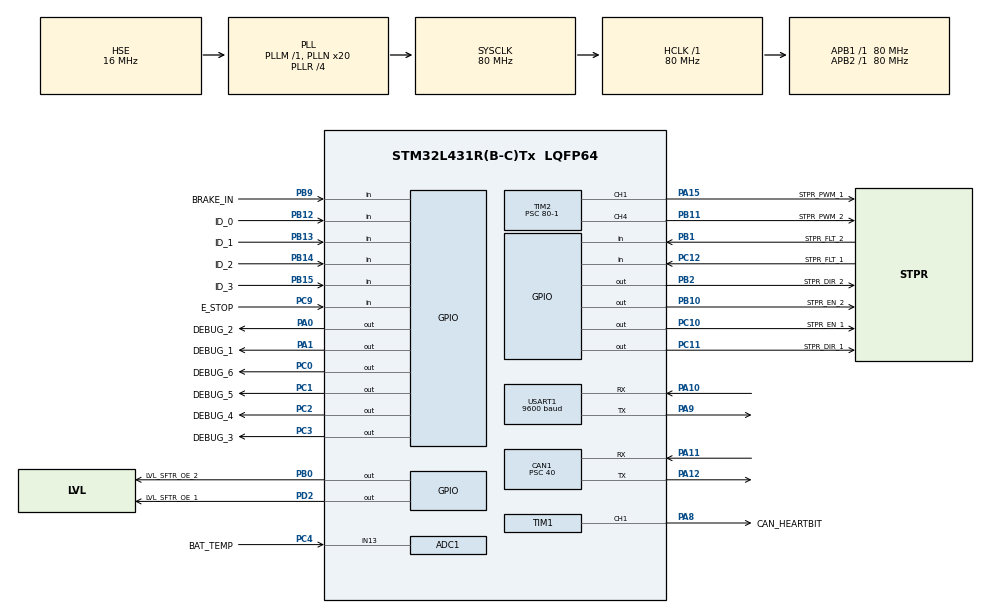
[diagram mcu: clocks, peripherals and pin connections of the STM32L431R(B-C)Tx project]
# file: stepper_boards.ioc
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ADC1.Channel-6\#ChannelRegularConversion=ADC_CHANNEL_TEMPSENSOR
ADC1.ContinuousConvMode=ENABLE
ADC1.NbrOfConversionFlag=1
ADC1.OffsetNumber-6\#ChannelRegularConversion=ADC_OFFSET_NONE
ADC1.Rank-6\#ChannelRegularConversion=1
ADC1.SamplingTime-6\#ChannelRegularConversion=ADC_SAMPLETIME_2CYCLES_5
ADC1.master=1
CAN1.BS1=CAN_BS1_13TQ
CAN1.BS2=CAN_BS2_2TQ
CAN1.CalculateBaudRate=125000
CAN1.CalculateTimeBit=8000
CAN1.CalculateTimeQuantum=500.0
CAN1.Prescaler=40
FREERTOS.BinarySemaphores01=canRxSem,Dynamic,NULL
FREERTOS.Tasks01=canRxTask,32,128,can_rx_task,Default,NULL,Dynamic,NULL,NULL;canTxTask,40,128,can_tx_task,Default,NULL,Dynamic,NULL,NULL;ledTask,8,128,led_task,Default,NULL,Dynamic,NULL,NULL;steeringTaskPWM,36,128,steering_task_pwm,Default,NULL,Dynamic,NULL,NULL
FREERTOS.Timers01=periodicTimer,PeriodicTimerCallback,osTimerPeriodic,Default,NULL,Dynamic,NULL
FREERTOS.configGENERATE_RUN_TIME_STATS=1
FREERTOS.configRECORD_STACK_HIGH_ADDRESS=1
FREERTOS.configTIMER_TASK_PRIORITY=6
FREERTOS.configUSE_NEWLIB_REENTRANT=1
FREERTOS.configUSE_STATS_FORMATTING_FUNCTIONS=1
Mcu.Family=STM32L4
Mcu.Name=STM32L431R(B-C)Tx
Mcu.Package=LQFP64
NVIC.CAN1_RX0_IRQn=true\:5\:0\:false\:false\:true\:true\:true\:true\:true
NVIC.CAN1_RX1_IRQn=true\:5\:0\:false\:false\:true\:true\:true\:true\:true
NVIC.PriorityGroup=NVIC_PRIORITYGROUP_4
NVIC.TIM6_DAC_IRQn=true\:15\:0\:false\:false\:true\:false\:false\:true\:true
NVIC.TimeBase=TIM6_DAC_IRQn
NVIC.TimeBaseIP=TIM6
PA0.GPIO_Label=DEBUG_2
PA0.Signal=GPIO_Output
PA1.GPIO_Label=DEBUG_1
PA1.Signal=GPIO_Output
PA10.Mode=Asynchronous
PA10.Signal=USART1_RX
PA11.Mode=CAN_Activate
PA11.Signal=CAN1_RX
PA12.Mode=CAN_Activate
PA12.Signal=CAN1_TX
PA13\ (JTMS-SWDIO).Mode=Trace_Asynchronous_SW
PA13\ (JTMS-SWDIO).Signal=SYS_JTMS-SWDIO
PA14\ (JTCK-SWCLK).Mode=Trace_Asynchronous_SW
PA14\ (JTCK-SWCLK).Signal=SYS_JTCK-SWCLK
PA15\ (JTDI).GPIO_Label=STPR_PWM_1
PA15\ (JTDI).Signal=S_TIM2_CH1
PA8.GPIO_Label=CAN_HEARTBIT
PA8.Signal=S_TIM1_CH1
PA9.Mode=Asynchronous
PA9.Signal=USART1_TX
PB0.GPIO_Label=LVL_SFTR_OE_2
PB0.Signal=GPIO_Output
PB1.GPIO_Label=STPR_FLT_2
PB1.Signal=GPIO_Input
PB10.GPIO_Label=STPR_EN_2
PB10.Signal=GPIO_Output
PB11.GPIO_Label=STPR_PWM_2
PB11.Signal=S_TIM2_CH4
PB12.GPIO_Label=ID_0
PB12.Signal=GPIO_Input
PB13.GPIO_Label=ID_1
PB13.Signal=GPIO_Input
PB14.GPIO_Label=ID_2
PB14.Signal=GPIO_Input
PB15.GPIO_Label=ID_3
PB15.Signal=GPIO_Input
PB2.GPIO_Label=STPR_DIR_2
PB2.Signal=GPIO_Output
PB3\ (JTDO-TRACESWO).Mode=Trace_Asynchronous_SW
PB3\ (JTDO-TRACESWO).Signal=SYS_JTDO-SWO
PB9.GPIO_Label=BRAKE_IN
PB9.Signal=GPIO_Input
PC0.GPIO_Label=DEBUG_6
PC0.Signal=GPIO_Output
PC1.GPIO_Label=DEBUG_5
PC1.Signal=GPIO_Output
PC10.GPIO_Label=STPR_EN_1
PC10.Signal=GPIO_Output
PC11.GPIO_Label=STPR_DIR_1
PC11.Signal=GPIO_Output
PC12.GPIO_Label=STPR_FLT_1
PC12.Signal=GPIO_Input
PC2.GPIO_Label=DEBUG_4
PC2.Signal=GPIO_Output
PC3.GPIO_Label=DEBUG_3
PC3.Signal=GPIO_Output
PC4.GPIO_Label=BAT_TEMP
PC4.Signal=SharedAnalog_PC4
PC9.GPIO_Label=E_STOP
PC9.Signal=GPIO_Input
PD2.GPIO_Label=LVL_SFTR_OE_1
PD2.Signal=GPIO_Output
PH0-OSC_IN\ (PH0).Mode=HSE-External-Oscillator
PH0-OSC_IN\ (PH0).Signal=RCC_OSC_IN
PH1-OSC_OUT\ (PH1).Mode=HSE-External-Oscillator
PH1-OSC_OUT\ (PH1).Signal=RCC_OSC_OUT
ProjectManager.HeapSize=0x200
ProjectManager.StackSize=0x400
ProjectManager.TargetToolchain=STM32CubeIDE
RCC.ADCFreq_Value=80000000
RCC.AHBFreq_Value=80000000
RCC.APB1Freq_Value=80000000
RCC.APB1TimFreq_Value=80000000
RCC.APB2Freq_Value=80000000
RCC.APB2TimFreq_Value=80000000
RCC.CortexFreq_Value=80000000
RCC.HCLKFreq_Value=80000000
RCC.HSE_VALUE=16000000
RCC.HSI48_VALUE=48000000
RCC.HSI_VALUE=16000000
RCC.LSE_VALUE=32768
RCC.MSI_VALUE=4000000
RCC.PLLN=20
RCC.PLLR=RCC_PLLR_DIV4
RCC.PLLSAI1N=20
RCC.PLLSAI1R=RCC_PLLR_DIV4
RCC.PLLSourceVirtual=RCC_PLLSOURCE_HSE
RCC.SYSCLKFreq_VALUE=80000000
RCC.SYSCLKSource=RCC_SYSCLKSOURCE_PLLCLK
RCC.VCOOutputFreq_Value=320000000
SH.S_TIM1_CH1.0=TIM1_CH1,PWM Generation1 CH1
SH.S_TIM2_CH1.0=TIM2_CH1,PWM Generation1 CH1
SH.S_TIM2_CH4.0=TIM2_CH4,PWM Generation4 CH4
SH.SharedAnalog_PC4.0=GPIO_Analog
SH.SharedAnalog_PC4.1=ADC1_IN13,IN13-Single-Ended
TIM1.Channel-PWM\ Generation1\ CH1=TIM_CHANNEL_1
TIM2.Channel-PWM\ Generation1\ CH1=TIM_CHANNEL_1
TIM2.Channel-PWM\ Generation4\ CH4=TIM_CHANNEL_4
TIM2.Period=100-1 
TIM2.Prescaler=80-1
USART1.BaudRate=9600
USART1.VirtualMode-Asynchronous=VM_ASYNC
VP_ADC1_TempSens_Input.Mode=IN-TempSens
VP_FREERTOS_VS_CMSIS_V2.Mode=CMSIS_V2
VP_SYS_VS_tim6.Mode=TIM6
VP_TIM1_VS_ClockSourceINT.Mode=Internal
VP_TIM2_VS_ClockSourceINT.Mode=Internal
board=custom

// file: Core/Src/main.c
/* USER CODE BEGIN Header */
/**
  ******************************************************************************
  * @file           : main.c
  * @brief          : Main program body
  ******************************************************************************
  * @attention
  *
  * Copyright (c) 2023 STMicroelectronics.
  * All rights reserved.
  *
  * This software is licensed under terms that can be found in the LICENSE file
  * in the root directory of this software component.
  * If no LICENSE file comes with this software, it is provided AS-IS.
  *
  ******************************************************************************
  */
/* USER CODE END Header */
#include "main.h"
#include "cmsis_os.h"

/* USER CODE BEGIN Includes */
#include <CAN/can_tasks.h>
#include <STEPPER/stepper_tasks.h>
#include "stdio.h"
/* USER CODE END Includes */

ADC_HandleTypeDef hadc1;

CAN_HandleTypeDef hcan1;

TIM_HandleTypeDef htim1;
TIM_HandleTypeDef htim2;

UART_HandleTypeDef huart1;

/* Definitions for ledTask */
osThreadId_t ledTaskHandle;
const osThreadAttr_t ledTask_attributes = {
  .name = "ledTask",
  .stack_size = 128 * 4,
  .priority = (osPriority_t) osPriorityLow,
};
/* Definitions for steeringTaskPWM */
osThreadId_t steeringTaskPWMHandle;
const osThreadAttr_t steeringTaskPWM_attributes = {
  .name = "steeringTaskPWM",
  .stack_size = 128 * 4,
  .priority = (osPriority_t) osPriorityAboveNormal4,
};
/* Definitions for periodicTimer */
osTimerId_t periodicTimerHandle;
const osTimerAttr_t periodicTimer_attributes = {
  .name = "periodicTimer"
};
/* Definitions for canRxSem */
osSemaphoreId_t canRxSemHandle;
const osSemaphoreAttr_t canRxSem_attributes = {
  .name = "canRxSem"
};

void SystemClock_Config(void);
static void MX_GPIO_Init(void);
static void MX_USART1_UART_Init(void);
static void MX_TIM2_Init(void);
static void MX_TIM1_Init(void);
static void MX_ADC1_Init(void);
static void MX_CAN1_Init(void);
void led_task(void *argument);
void PeriodicTimerCallback(void *argument);

/* USER CODE BEGIN 0 */
int _write(int file, char *ptr, int len)
{
	for(int i=0; i<len; i++)
	{
		ITM_SendChar(*ptr++);
	}
	return len;
}

//uint8_t count = 0;

/* USER CODE END 0 */

int main(void)
{

  /* MCU Configuration--------------------------------------------------------*/

  /* Reset of all peripherals, Initializes the Flash interface and the Systick. */
  HAL_Init();

  /* Configure the system clock */
  SystemClock_Config();

  /* Initialize all configured peripherals */
  MX_GPIO_Init();
  MX_USART1_UART_Init();
  MX_TIM2_Init();
  MX_TIM1_Init();
  MX_ADC1_Init();
  MX_CAN1_Init();
  /* USER CODE BEGIN 2 */

  // Debug
  HAL_GPIO_WritePin(GPIOC, DEBUG_6_Pin|DEBUG_5_Pin|DEBUG_4_Pin|DEBUG_3_Pin, GPIO_PIN_SET);
  //HAL_GPIO_WritePin(GPIOA, DEBUG_2_Pin|DEBUG_1_Pin, GPIO_PIN_SET);

  // Stepper 1
  HAL_GPIO_WritePin(LVL_SFTR_OE_1_GPIO_Port, LVL_SFTR_OE_1_Pin, GPIO_PIN_SET);
  //HAL_GPIO_WritePin(GPIOC, STPR_DIR_1_Pin | STPR_EN_1_Pin, GPIO_PIN_SET);
  //HAL_GPIO_WritePin(STPR_PWM_1_GPIO_Port, STPR_PWM_1_Pin, GPIO_PIN_RESET);

  // Stepper 2
  //HAL_GPIO_WritePin(GPIOB, LVL_SFTR_OE_2_Pin|STPR_DIR_2_Pin|STPR_PWM_2_Pin, GPIO_PIN_SET);
  //HAL_GPIO_WritePin(GPIOB, STPR_EN_2_Pin, GPIO_PIN_SET);

  // ADC Calibration
  /*
  HAL_StatusTypeDef ret;
  ret = HAL_ADCEx_Calibration_Start(&hadc1, ADC_SINGLE_ENDED);
  if(ret != HAL_OK)
  {
	  Error_Handler();
  }

*/

  TIM1->CCR1 = 50;
  HAL_TIM_PWM_Start(&htim1, TIM_CHANNEL_1);

  /*
  if(HAL_CAN_Start(&hcan1) == HAL_OK)
	  printf("CAN started correctly\n");
  else
	  printf("CAN error\n");

  HAL_CAN_ActivateNotification(&hcan1, CAN_IT_RX_FIFO0_MSG_PENDING);
   */

  /* USER CODE END 2 */

  /* Init scheduler */
  osKernelInitialize();

  /* Create the semaphores(s) */
  /* creation of canRxSem */
  canRxSemHandle = osSemaphoreNew(1, 1, &canRxSem_attributes);

  /* Create the timer(s) */
  /* creation of periodicTimer */
  periodicTimerHandle = osTimerNew(PeriodicTimerCallback, osTimerPeriodic, NULL, &periodicTimer_attributes);

  /* Create the thread(s) */
  start_can_tasks();

  /* creation of ledTask */
  ledTaskHandle = osThreadNew(led_task, NULL, &ledTask_attributes);

  /* creation of steeringTaskPWM */
  steeringTaskPWMHandle = osThreadNew(steering_task_pwm, NULL, &steeringTaskPWM_attributes);

  /* Start scheduler */
  osKernelStart();

  /* We should never get here as control is now taken by the scheduler */
  /* Infinite loop */
  /* USER CODE BEGIN WHILE */
  /*
  uint32_t previous_t = 0;
  uint32_t current_t = 0;
  uint32_t delay = 1;
  uint32_t thermistor_reading = 0;

  GPIO_PinState ID_0;
  GPIO_PinState ID_1;
  GPIO_PinState ID_2;
  GPIO_PinState ID_3;

  GPIO_PinState BRAKE;
  GPIO_PinState FAULT_1;
  GPIO_PinState FAULT_2;
  */

  //HAL_UART_Transmit(&huart1, dataT, 14, HAL_MAX_DELAY);

  while (1)
  {
	  /*
	  current_t = HAL_GetTick();

	  if(current_t - previous_t >= delay){
		  previous_t = current_t;
		  HAL_GPIO_WritePin(STPR_PWM_1_GPIO_Port, STPR_PWM_1_Pin, GPIO_PIN_SET);

		  HAL_Delay(delay);

		  HAL_GPIO_WritePin(STPR_PWM_1_GPIO_Port, STPR_PWM_1_Pin, GPIO_PIN_RESET);
	  }

	  ID_0 = HAL_GPIO_ReadPin(GPIOB, ID_0_Pin);
	  ID_1 = HAL_GPIO_ReadPin(GPIOB, ID_1_Pin);
	  ID_2 = HAL_GPIO_ReadPin(GPIOB, ID_2_Pin);
	  ID_3 = HAL_GPIO_ReadPin(GPIOB, ID_3_Pin);

	  BRAKE = HAL_GPIO_ReadPin(GPIOB, BRAKE_IN_Pin);
	  FAULT_1 = HAL_GPIO_ReadPin(GPIOC, STPR_FLT_1_Pin);
	  FAULT_2 = HAL_GPIO_ReadPin(GPIOB, STPR_FLT_2_Pin);

	  printf("ID 0: %d\n", ID_0);
	  printf("ID 1: %d\n", ID_1);
	  printf("ID 2: %d\n", ID_2);
	  printf("ID 3: %d\n", ID_3);
	  printf("\n");
	  printf("BRAKE: %d\n", BRAKE);
	  printf("FAULT 1: %d\n", FAULT_1);
	  printf("FAULT 2: %d\n", FAULT_2);

	  HAL_ADC_Start(&hadc1);
	  if(HAL_ADC_PollForConversion(&hadc1, 100) == HAL_OK)
	  {
		  thermistor_reading = HAL_ADC_GetValue(&hadc1);
	  }
	  HAL_ADC_Stop(&hadc1);

	  printf("Thermistor Measurement: %u\n", thermistor_reading);
	  printf("Thermistor Voltage: %f\n", (float) thermistor_reading*3.3/4096);
		*/

	  //if(HAL_UART_Receive(&huart1, dataR, 1, HAL_MAX_DELAY) == HAL_OK)
	  //{
	  // dataR[0] = dataR[0] + 1;
	  // HAL_UART_Transmit(&huart1, dataR, 1, HAL_MAX_DELAY);
	  // }

	  //if(!HAL_CAN_IsTxMessagePending(&hcan1, TxMailbox)){
		  //printf("Message sent 2\n");
		//  HAL_CAN_AddTxMessage(&hcan1, &TxHeader, &TxData[0], &TxMailbox);
			  /* printf("Transmission requested 2\n");
		  else
			  printf("Error 2\n");
	  //}
	  else
		  printf("Message pending 2\n");*/

	  //HAL_Delay(500);

    /* USER CODE END WHILE */

  }
}

void SystemClock_Config(void)
{
  RCC_OscInitTypeDef RCC_OscInitStruct = {0};
  RCC_ClkInitTypeDef RCC_ClkInitStruct = {0};

  /** Configure the main internal regulator output voltage
  */
  if (HAL_PWREx_ControlVoltageScaling(PWR_REGULATOR_VOLTAGE_SCALE1) != HAL_OK)
  {
    Error_Handler();
  }

  /** Initializes the RCC Oscillators according to the specified parameters
  * in the RCC_OscInitTypeDef structure.
  */
  RCC_OscInitStruct.OscillatorType = RCC_OSCILLATORTYPE_HSE;
  RCC_OscInitStruct.HSEState = RCC_HSE_ON;
  RCC_OscInitStruct.PLL.PLLState = RCC_PLL_ON;
  RCC_OscInitStruct.PLL.PLLSource = RCC_PLLSOURCE_HSE;
  RCC_OscInitStruct.PLL.PLLM = 1;
  RCC_OscInitStruct.PLL.PLLN = 20;
  RCC_OscInitStruct.PLL.PLLP = RCC_PLLP_DIV7;
  RCC_OscInitStruct.PLL.PLLQ = RCC_PLLQ_DIV2;
  RCC_OscInitStruct.PLL.PLLR = RCC_PLLR_DIV4;
  if (HAL_RCC_OscConfig(&RCC_OscInitStruct) != HAL_OK)
  {
    Error_Handler();
  }

  /** Initializes the CPU, AHB and APB buses clocks
  */
  RCC_ClkInitStruct.ClockType = RCC_CLOCKTYPE_HCLK|RCC_CLOCKTYPE_SYSCLK
                              |RCC_CLOCKTYPE_PCLK1|RCC_CLOCKTYPE_PCLK2;
  RCC_ClkInitStruct.SYSCLKSource = RCC_SYSCLKSOURCE_PLLCLK;
  RCC_ClkInitStruct.AHBCLKDivider = RCC_SYSCLK_DIV1;
  RCC_ClkInitStruct.APB1CLKDivider = RCC_HCLK_DIV1;
  RCC_ClkInitStruct.APB2CLKDivider = RCC_HCLK_DIV1;

  if (HAL_RCC_ClockConfig(&RCC_ClkInitStruct, FLASH_LATENCY_4) != HAL_OK)
  {
    Error_Handler();
  }
}

static void MX_ADC1_Init(void)
{

  ADC_ChannelConfTypeDef sConfig = {0};

  /** Common config
  */
  hadc1.Instance = ADC1;
  hadc1.Init.ClockPrescaler = ADC_CLOCK_ASYNC_DIV1;
  hadc1.Init.Resolution = ADC_RESOLUTION_12B;
  hadc1.Init.DataAlign = ADC_DATAALIGN_RIGHT;
  hadc1.Init.ScanConvMode = ADC_SCAN_DISABLE;
  hadc1.Init.EOCSelection = ADC_EOC_SINGLE_CONV;
  hadc1.Init.LowPowerAutoWait = DISABLE;
  hadc1.Init.ContinuousConvMode = ENABLE;
  hadc1.Init.NbrOfConversion = 1;
  hadc1.Init.DiscontinuousConvMode = DISABLE;
  hadc1.Init.ExternalTrigConv = ADC_SOFTWARE_START;
  hadc1.Init.ExternalTrigConvEdge = ADC_EXTERNALTRIGCONVEDGE_NONE;
  hadc1.Init.DMAContinuousRequests = DISABLE;
  hadc1.Init.Overrun = ADC_OVR_DATA_PRESERVED;
  hadc1.Init.OversamplingMode = DISABLE;
  if (HAL_ADC_Init(&hadc1) != HAL_OK)
  {
    Error_Handler();
  }

  /** Configure Regular Channel
  */
  sConfig.Channel = ADC_CHANNEL_TEMPSENSOR;
  sConfig.Rank = ADC_REGULAR_RANK_1;
  sConfig.SamplingTime = ADC_SAMPLETIME_2CYCLES_5;
  sConfig.SingleDiff = ADC_SINGLE_ENDED;
  sConfig.OffsetNumber = ADC_OFFSET_NONE;
  sConfig.Offset = 0;
  if (HAL_ADC_ConfigChannel(&hadc1, &sConfig) != HAL_OK)
  {
    Error_Handler();
  }

}

static void MX_CAN1_Init(void)
{

  hcan1.Instance = CAN1;
  hcan1.Init.Prescaler = 40;
  hcan1.Init.Mode = CAN_MODE_NORMAL;
  hcan1.Init.SyncJumpWidth = CAN_SJW_1TQ;
  hcan1.Init.TimeSeg1 = CAN_BS1_13TQ;
  hcan1.Init.TimeSeg2 = CAN_BS2_2TQ;
  hcan1.Init.TimeTriggeredMode = DISABLE;
  hcan1.Init.AutoBusOff = DISABLE;
  hcan1.Init.AutoWakeUp = DISABLE;
  hcan1.Init.AutoRetransmission = DISABLE;
  hcan1.Init.ReceiveFifoLocked = DISABLE;
  hcan1.Init.TransmitFifoPriority = DISABLE;
  if (HAL_CAN_Init(&hcan1) != HAL_OK)
  {
    Error_Handler();
  }
  /* USER CODE BEGIN CAN1_Init 2 */

  can_init();

  /* USER CODE END CAN1_Init 2 */

}

static void MX_TIM1_Init(void)
{

  TIM_ClockConfigTypeDef sClockSourceConfig = {0};
  TIM_MasterConfigTypeDef sMasterConfig = {0};
  TIM_OC_InitTypeDef sConfigOC = {0};
  TIM_BreakDeadTimeConfigTypeDef sBreakDeadTimeConfig = {0};

  htim1.Instance = TIM1;
  htim1.Init.Prescaler = 0;
  htim1.Init.CounterMode = TIM_COUNTERMODE_UP;
  htim1.Init.Period = 65535;
  htim1.Init.ClockDivision = TIM_CLOCKDIVISION_DIV1;
  htim1.Init.RepetitionCounter = 0;
  htim1.Init.AutoReloadPreload = TIM_AUTORELOAD_PRELOAD_DISABLE;
  if (HAL_TIM_Base_Init(&htim1) != HAL_OK)
  {
    Error_Handler();
  }
  sClockSourceConfig.ClockSource = TIM_CLOCKSOURCE_INTERNAL;
  if (HAL_TIM_ConfigClockSource(&htim1, &sClockSourceConfig) != HAL_OK)
  {
    Error_Handler();
  }
  if (HAL_TIM_PWM_Init(&htim1) != HAL_OK)
  {
    Error_Handler();
  }
  sMasterConfig.MasterOutputTrigger = TIM_TRGO_RESET;
  sMasterConfig.MasterOutputTrigger2 = TIM_TRGO2_RESET;
  sMasterConfig.MasterSlaveMode = TIM_MASTERSLAVEMODE_DISABLE;
  if (HAL_TIMEx_MasterConfigSynchronization(&htim1, &sMasterConfig) != HAL_OK)
  {
    Error_Handler();
  }
  sConfigOC.OCMode = TIM_OCMODE_PWM1;
  sConfigOC.Pulse = 0;
  sConfigOC.OCPolarity = TIM_OCPOLARITY_HIGH;
  sConfigOC.OCNPolarity = TIM_OCNPOLARITY_HIGH;
  sConfigOC.OCFastMode = TIM_OCFAST_DISABLE;
  sConfigOC.OCIdleState = TIM_OCIDLESTATE_RESET;
  sConfigOC.OCNIdleState = TIM_OCNIDLESTATE_RESET;
  if (HAL_TIM_PWM_ConfigChannel(&htim1, &sConfigOC, TIM_CHANNEL_1) != HAL_OK)
  {
    Error_Handler();
  }
  sBreakDeadTimeConfig.OffStateRunMode = TIM_OSSR_DISABLE;
  sBreakDeadTimeConfig.OffStateIDLEMode = TIM_OSSI_DISABLE;
  sBreakDeadTimeConfig.LockLevel = TIM_LOCKLEVEL_OFF;
  sBreakDeadTimeConfig.DeadTime = 0;
  sBreakDeadTimeConfig.BreakState = TIM_BREAK_DISABLE;
  sBreakDeadTimeConfig.BreakPolarity = TIM_BREAKPOLARITY_HIGH;
  sBreakDeadTimeConfig.BreakFilter = 0;
  sBreakDeadTimeConfig.Break2State = TIM_BREAK2_DISABLE;
  sBreakDeadTimeConfig.Break2Polarity = TIM_BREAK2POLARITY_HIGH;
  sBreakDeadTimeConfig.Break2Filter = 0;
  sBreakDeadTimeConfig.AutomaticOutput = TIM_AUTOMATICOUTPUT_DISABLE;
  if (HAL_TIMEx_ConfigBreakDeadTime(&htim1, &sBreakDeadTimeConfig) != HAL_OK)
  {
    Error_Handler();
  }
  HAL_TIM_MspPostInit(&htim1);

}

static void MX_TIM2_Init(void)
{

  TIM_ClockConfigTypeDef sClockSourceConfig = {0};
  TIM_MasterConfigTypeDef sMasterConfig = {0};
  TIM_OC_InitTypeDef sConfigOC = {0};

  htim2.Instance = TIM2;
  htim2.Init.Prescaler = 80-1;
  htim2.Init.CounterMode = TIM_COUNTERMODE_UP;
  htim2.Init.Period = 100-1 ;
  htim2.Init.ClockDivision = TIM_CLOCKDIVISION_DIV1;
  htim2.Init.AutoReloadPreload = TIM_AUTORELOAD_PRELOAD_DISABLE;
  if (HAL_TIM_Base_Init(&htim2) != HAL_OK)
  {
    Error_Handler();
  }
  sClockSourceConfig.ClockSource = TIM_CLOCKSOURCE_INTERNAL;
  if (HAL_TIM_ConfigClockSource(&htim2, &sClockSourceConfig) != HAL_OK)
  {
    Error_Handler();
  }
  if (HAL_TIM_PWM_Init(&htim2) != HAL_OK)
  {
    Error_Handler();
  }
  sMasterConfig.MasterOutputTrigger = TIM_TRGO_RESET;
  sMasterConfig.MasterSlaveMode = TIM_MASTERSLAVEMODE_DISABLE;
  if (HAL_TIMEx_MasterConfigSynchronization(&htim2, &sMasterConfig) != HAL_OK)
  {
    Error_Handler();
  }
  sConfigOC.OCMode = TIM_OCMODE_PWM1;
  sConfigOC.Pulse = 0;
  sConfigOC.OCPolarity = TIM_OCPOLARITY_HIGH;
  sConfigOC.OCFastMode = TIM_OCFAST_DISABLE;
  if (HAL_TIM_PWM_ConfigChannel(&htim2, &sConfigOC, TIM_CHANNEL_1) != HAL_OK)
  {
    Error_Handler();
  }
  if (HAL_TIM_PWM_ConfigChannel(&htim2, &sConfigOC, TIM_CHANNEL_4) != HAL_OK)
  {
    Error_Handler();
  }
  HAL_TIM_MspPostInit(&htim2);

}

static void MX_USART1_UART_Init(void)
{

  huart1.Instance = USART1;
  huart1.Init.BaudRate = 9600;
  huart1.Init.WordLength = UART_WORDLENGTH_8B;
  huart1.Init.StopBits = UART_STOPBITS_1;
  huart1.Init.Parity = UART_PARITY_NONE;
  huart1.Init.Mode = UART_MODE_TX_RX;
  huart1.Init.HwFlowCtl = UART_HWCONTROL_NONE;
  huart1.Init.OverSampling = UART_OVERSAMPLING_16;
  huart1.Init.OneBitSampling = UART_ONE_BIT_SAMPLE_DISABLE;
  huart1.AdvancedInit.AdvFeatureInit = UART_ADVFEATURE_NO_INIT;
  if (HAL_UART_Init(&huart1) != HAL_OK)
  {
    Error_Handler();
  }

}

static void MX_GPIO_Init(void)
{
  GPIO_InitTypeDef GPIO_InitStruct = {0};

  /* GPIO Ports Clock Enable */
  __HAL_RCC_GPIOH_CLK_ENABLE();
  __HAL_RCC_GPIOC_CLK_ENABLE();
  __HAL_RCC_GPIOA_CLK_ENABLE();
  __HAL_RCC_GPIOB_CLK_ENABLE();
  __HAL_RCC_GPIOD_CLK_ENABLE();

  /*Configure GPIO pin Output Level */
  HAL_GPIO_WritePin(GPIOC, DEBUG_6_Pin|DEBUG_5_Pin|DEBUG_4_Pin|DEBUG_3_Pin
                          |STPR_EN_1_Pin|STPR_DIR_1_Pin, GPIO_PIN_RESET);

  /*Configure GPIO pin Output Level */
  HAL_GPIO_WritePin(GPIOA, DEBUG_2_Pin|DEBUG_1_Pin, GPIO_PIN_RESET);

  /*Configure GPIO pin Output Level */
  HAL_GPIO_WritePin(GPIOB, LVL_SFTR_OE_2_Pin|STPR_DIR_2_Pin|STPR_EN_2_Pin, GPIO_PIN_RESET);

  /*Configure GPIO pin Output Level */
  HAL_GPIO_WritePin(LVL_SFTR_OE_1_GPIO_Port, LVL_SFTR_OE_1_Pin, GPIO_PIN_RESET);

  /*Configure GPIO pins : DEBUG_6_Pin DEBUG_5_Pin DEBUG_4_Pin DEBUG_3_Pin
                           STPR_EN_1_Pin STPR_DIR_1_Pin */
  GPIO_InitStruct.Pin = DEBUG_6_Pin|DEBUG_5_Pin|DEBUG_4_Pin|DEBUG_3_Pin
                          |STPR_EN_1_Pin|STPR_DIR_1_Pin;
  GPIO_InitStruct.Mode = GPIO_MODE_OUTPUT_PP;
  GPIO_InitStruct.Pull = GPIO_NOPULL;
  GPIO_InitStruct.Speed = GPIO_SPEED_FREQ_LOW;
  HAL_GPIO_Init(GPIOC, &GPIO_InitStruct);

  /*Configure GPIO pins : DEBUG_2_Pin DEBUG_1_Pin */
  GPIO_InitStruct.Pin = DEBUG_2_Pin|DEBUG_1_Pin;
  GPIO_InitStruct.Mode = GPIO_MODE_OUTPUT_PP;
  GPIO_InitStruct.Pull = GPIO_NOPULL;
  GPIO_InitStruct.Speed = GPIO_SPEED_FREQ_LOW;
  HAL_GPIO_Init(GPIOA, &GPIO_InitStruct);

  /*Configure GPIO pins : LVL_SFTR_OE_2_Pin STPR_DIR_2_Pin STPR_EN_2_Pin */
  GPIO_InitStruct.Pin = LVL_SFTR_OE_2_Pin|STPR_DIR_2_Pin|STPR_EN_2_Pin;
  GPIO_InitStruct.Mode = GPIO_MODE_OUTPUT_PP;
  GPIO_InitStruct.Pull = GPIO_NOPULL;
  GPIO_InitStruct.Speed = GPIO_SPEED_FREQ_LOW;
  HAL_GPIO_Init(GPIOB, &GPIO_InitStruct);

  /*Configure GPIO pins : STPR_FLT_2_Pin ID_0_Pin ID_1_Pin ID_2_Pin
                           ID_3_Pin BRAKE_IN_Pin */
  GPIO_InitStruct.Pin = STPR_FLT_2_Pin|ID_0_Pin|ID_1_Pin|ID_2_Pin
                          |ID_3_Pin|BRAKE_IN_Pin;
  GPIO_InitStruct.Mode = GPIO_MODE_INPUT;
  GPIO_InitStruct.Pull = GPIO_NOPULL;
  HAL_GPIO_Init(GPIOB, &GPIO_InitStruct);

  /*Configure GPIO pins : E_STOP_Pin STPR_FLT_1_Pin */
  GPIO_InitStruct.Pin = E_STOP_Pin|STPR_FLT_1_Pin;
  GPIO_InitStruct.Mode = GPIO_MODE_INPUT;
  GPIO_InitStruct.Pull = GPIO_NOPULL;
  HAL_GPIO_Init(GPIOC, &GPIO_InitStruct);

  /*Configure GPIO pin : LVL_SFTR_OE_1_Pin */
  GPIO_InitStruct.Pin = LVL_SFTR_OE_1_Pin;
  GPIO_InitStruct.Mode = GPIO_MODE_OUTPUT_PP;
  GPIO_InitStruct.Pull = GPIO_NOPULL;
  GPIO_InitStruct.Speed = GPIO_SPEED_FREQ_LOW;
  HAL_GPIO_Init(LVL_SFTR_OE_1_GPIO_Port, &GPIO_InitStruct);

}

void led_task(void *argument)
{
  /* USER CODE BEGIN led_task */
  /* Infinite loop */
  for(;;)
  {
	HAL_GPIO_TogglePin(GPIOA, DEBUG_1_Pin);
	osDelay(600);
  }
  osThreadTerminate(NULL);
  /* USER CODE END led_task */
}

/* PeriodicTimerCallback function */
void PeriodicTimerCallback(void *argument)
{
  /* USER CODE BEGIN PeriodicTimerCallback */
	HAL_GPIO_TogglePin(GPIOA, DEBUG_1_Pin);
  /* USER CODE END PeriodicTimerCallback */
}

void HAL_TIM_PeriodElapsedCallback(TIM_HandleTypeDef *htim)
{
  if (htim->Instance == TIM6) {
    HAL_IncTick();
  }
}

void Error_Handler(void)
{
  __disable_irq();
  while (1)
  {
  }
}

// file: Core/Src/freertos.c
/* USER CODE BEGIN Header */
/**
  ******************************************************************************
  * File Name          : freertos.c
  * Description        : Code for freertos applications
  ******************************************************************************
  * @attention
  *
  * Copyright (c) 2023 STMicroelectronics.
  * All rights reserved.
  *
  * This software is licensed under terms that can be found in the LICENSE file
  * in the root directory of this software component.
  * If no LICENSE file comes with this software, it is provided AS-IS.
  *
  ******************************************************************************
  */
/* USER CODE END Header */

#include "FreeRTOS.h"
#include "task.h"
#include "main.h"

/* USER CODE BEGIN Variables */
//volatile unsigned long ulStatsTimerTicks;
//extern TIM_HandleTypeDef htim7;
/* USER CODE END Variables */

/* Hook prototypes */
void configureTimerForRunTimeStats(void);
unsigned long getRunTimeCounterValue(void);

/* USER CODE BEGIN 1 */
/* Functions needed when configGENERATE_RUN_TIME_STATS is on */
__weak void configureTimerForRunTimeStats(void)
{
	//ulStatsTimerTicks = 0;
	//HAL_TIM_Base_Start_IT(&htim7);
	/*
	CoreDebug->DEMCR |= CoreDebug_DEMCR_TRCENA_Msk;
	DWT->CTRL |= 1;
	DWT->CYCCNT = 0;
	*/
}

__weak unsigned long getRunTimeCounterValue(void)
{
//return DWT->CYCCNT;
	return 0;
}
/* USER CODE END 1 */
